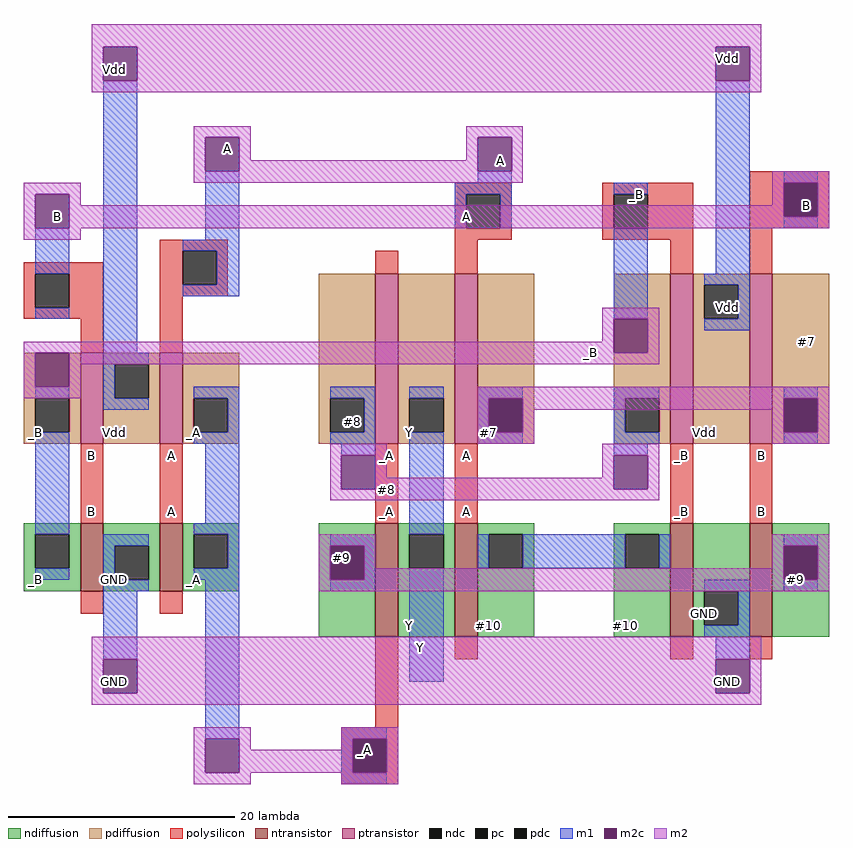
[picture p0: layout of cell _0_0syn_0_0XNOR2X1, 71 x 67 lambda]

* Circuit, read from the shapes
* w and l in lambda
.subckt _0_0syn_0_0XNOR2X1 GND Vdd Y A
M1 GND B _B VSUBS nfet w=6 l=2
M2 _A A GND VSUBS nfet w=6 l=2
M3 Y _A #9 VSUBS nfet w=10 l=2
M4 #10 A Y VSUBS nfet w=10 l=2
M5 GND _B #10 VSUBS nfet w=10 l=2
M6 #9 B GND VSUBS nfet w=10 l=2
M7 Vdd B _B NWELL pfet w=8 l=2
M8 _A A Vdd NWELL pfet w=8 l=2
M9 Y _A #8 NWELL pfet w=15 l=2
M10 #7 A Y NWELL pfet w=15 l=2
M11 Vdd _B #8 NWELL pfet w=15 l=2
M12 #7 B Vdd NWELL pfet w=15 l=2
.ends

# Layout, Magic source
magic
tech sky130l
<< ndiffusion >>
rect 8 15 13 16
rect 8 12 9 15
rect 12 12 13 15
rect 8 10 13 12
rect 15 14 20 16
rect 15 11 16 14
rect 19 11 20 14
rect 15 10 20 11
rect 22 15 27 16
rect 22 12 23 15
rect 26 12 27 15
rect 22 10 27 12
rect 34 14 39 16
rect 34 11 35 14
rect 38 11 39 14
rect 34 6 39 11
rect 41 15 46 16
rect 41 12 42 15
rect 45 12 46 15
rect 41 6 46 12
rect 48 15 53 16
rect 48 12 49 15
rect 52 12 53 15
rect 48 6 53 12
rect 60 15 65 16
rect 60 12 61 15
rect 64 12 65 15
rect 60 6 65 12
rect 67 10 72 16
rect 67 7 68 10
rect 71 7 72 10
rect 67 6 72 7
rect 74 14 79 16
rect 74 11 75 14
rect 78 11 79 14
rect 74 6 79 11
<< ndc >>
rect 9 12 12 15
rect 16 11 19 14
rect 23 12 26 15
rect 35 11 38 14
rect 42 12 45 15
rect 49 12 52 15
rect 61 12 64 15
rect 68 7 71 10
rect 75 11 78 14
<< ntransistor >>
rect 13 10 15 16
rect 20 10 22 16
rect 39 6 41 16
rect 46 6 48 16
rect 65 6 67 16
rect 72 6 74 16
<< pdiffusion >>
rect 8 27 13 31
rect 8 24 9 27
rect 12 24 13 27
rect 8 23 13 24
rect 15 30 20 31
rect 15 27 16 30
rect 19 27 20 30
rect 15 23 20 27
rect 22 27 27 31
rect 22 24 23 27
rect 26 24 27 27
rect 22 23 27 24
rect 34 27 39 38
rect 34 24 35 27
rect 38 24 39 27
rect 34 23 39 24
rect 41 27 46 38
rect 41 24 42 27
rect 45 24 46 27
rect 41 23 46 24
rect 48 27 53 38
rect 48 24 49 27
rect 52 24 53 27
rect 48 23 53 24
rect 60 27 65 38
rect 60 24 61 27
rect 64 24 65 27
rect 60 23 65 24
rect 67 37 72 38
rect 67 34 68 37
rect 71 34 72 37
rect 67 23 72 34
rect 74 27 79 38
rect 74 24 75 27
rect 78 24 79 27
rect 74 23 79 24
<< pdc >>
rect 9 24 12 27
rect 16 27 19 30
rect 23 24 26 27
rect 35 24 38 27
rect 42 24 45 27
rect 49 24 52 27
rect 61 24 64 27
rect 68 34 71 37
rect 75 24 78 27
<< ptransistor >>
rect 13 23 15 31
rect 20 23 22 31
rect 39 23 41 38
rect 46 23 48 38
rect 65 23 67 38
rect 72 23 74 38
<< polysilicon >>
rect 72 46 79 47
rect 46 45 51 46
rect 46 42 47 45
rect 50 42 51 45
rect 46 41 51 42
rect 59 45 67 46
rect 59 42 60 45
rect 63 42 67 45
rect 59 41 67 42
rect 20 40 26 41
rect 8 38 15 39
rect 8 35 9 38
rect 12 35 15 38
rect 8 34 15 35
rect 13 31 15 34
rect 20 37 22 40
rect 25 37 26 40
rect 39 38 41 40
rect 46 38 48 41
rect 65 38 67 41
rect 72 43 75 46
rect 78 43 79 46
rect 72 42 79 43
rect 72 38 74 42
rect 20 36 26 37
rect 20 31 22 36
rect 13 16 15 23
rect 20 16 22 23
rect 39 16 41 23
rect 46 16 48 23
rect 65 16 67 23
rect 72 16 74 23
rect 13 8 15 10
rect 20 8 22 10
rect 39 -2 41 6
rect 46 4 48 6
rect 65 4 67 6
rect 72 4 74 6
rect 36 -3 41 -2
rect 36 -6 37 -3
rect 40 -6 41 -3
rect 36 -7 41 -6
<< pc >>
rect 47 42 50 45
rect 60 42 63 45
rect 9 35 12 38
rect 22 37 25 40
rect 75 43 78 46
rect 37 -6 40 -3
<< m1 >>
rect 9 38 12 42
rect 9 34 12 35
rect 15 31 18 55
rect 24 41 27 47
rect 48 46 51 47
rect 46 45 51 46
rect 46 42 47 45
rect 50 42 51 45
rect 60 45 63 46
rect 22 40 27 41
rect 25 37 27 40
rect 22 36 27 37
rect 60 34 63 42
rect 69 38 72 55
rect 75 46 78 47
rect 75 42 78 43
rect 68 37 72 38
rect 71 34 72 37
rect 68 33 72 34
rect 9 27 12 28
rect 15 30 19 31
rect 15 27 16 30
rect 15 26 19 27
rect 23 27 27 28
rect 9 15 12 24
rect 26 24 27 27
rect 23 23 27 24
rect 35 27 39 28
rect 38 24 39 27
rect 35 23 39 24
rect 24 16 27 23
rect 36 22 39 23
rect 42 27 45 28
rect 23 15 27 16
rect 42 15 45 24
rect 48 27 52 28
rect 48 24 49 27
rect 48 23 52 24
rect 60 27 64 28
rect 60 24 61 27
rect 60 23 64 24
rect 75 27 78 28
rect 75 23 78 24
rect 60 22 63 23
rect 9 11 12 12
rect 15 14 19 15
rect 15 11 16 14
rect 26 12 27 15
rect 23 11 27 12
rect 15 10 19 11
rect 15 4 18 10
rect 24 -3 27 11
rect 35 14 39 15
rect 38 11 39 14
rect 35 10 39 11
rect 48 12 49 15
rect 52 12 61 15
rect 64 12 65 15
rect 75 14 78 15
rect 42 2 45 12
rect 68 10 72 11
rect 75 10 78 11
rect 71 7 72 10
rect 68 6 72 7
rect 69 4 72 6
rect 36 -3 40 -2
rect 36 -6 37 -3
rect 36 -7 40 -6
<< m2c >>
rect 15 55 18 58
rect 9 42 12 45
rect 69 55 72 58
rect 24 47 27 50
rect 48 47 51 50
rect 75 43 78 46
rect 60 31 63 34
rect 9 28 12 31
rect 36 19 39 22
rect 49 24 52 27
rect 75 24 78 27
rect 60 19 63 22
rect 15 1 18 4
rect 35 11 38 14
rect 75 11 78 14
rect 69 1 72 4
rect 24 -6 27 -3
rect 37 -6 40 -3
<< m2 >>
rect 14 58 73 60
rect 14 55 15 58
rect 18 55 69 58
rect 72 55 73 58
rect 14 54 73 55
rect 23 50 28 51
rect 23 47 24 50
rect 27 48 28 50
rect 47 50 52 51
rect 47 48 48 50
rect 27 47 48 48
rect 51 47 52 50
rect 23 46 52 47
rect 74 46 79 47
rect 8 45 13 46
rect 8 42 9 45
rect 12 44 13 45
rect 74 44 75 46
rect 12 43 75 44
rect 78 43 79 46
rect 12 42 79 43
rect 8 41 13 42
rect 59 34 64 35
rect 59 32 60 34
rect 8 31 60 32
rect 63 31 64 34
rect 8 28 9 31
rect 12 30 64 31
rect 12 28 13 30
rect 8 27 13 28
rect 48 27 79 28
rect 48 24 49 27
rect 52 26 75 27
rect 52 24 53 26
rect 48 23 53 24
rect 74 24 75 26
rect 78 24 79 27
rect 74 23 79 24
rect 35 22 40 23
rect 35 19 36 22
rect 39 20 40 22
rect 59 22 64 23
rect 59 20 60 22
rect 39 19 60 20
rect 63 19 64 22
rect 35 18 64 19
rect 34 14 39 15
rect 34 11 35 14
rect 38 12 39 14
rect 74 14 79 15
rect 74 12 75 14
rect 38 11 75 12
rect 78 11 79 14
rect 34 10 79 11
rect 14 4 73 6
rect 14 1 15 4
rect 18 1 69 4
rect 72 1 73 4
rect 14 0 73 1
rect 23 -3 28 -2
rect 23 -6 24 -3
rect 27 -4 28 -3
rect 36 -3 41 -2
rect 36 -4 37 -3
rect 27 -6 37 -4
rect 40 -6 41 -3
rect 23 -7 28 -6
rect 36 -7 41 -6
<< labels >>
rlabel m1 47 43 47 43 3 A
port 5 e
rlabel ndiffusion 61 7 61 7 3 #10
rlabel polysilicon 66 22 66 22 3 _B
rlabel polysilicon 66 17 66 17 3 _B
rlabel pdiffusion 68 24 68 24 3 Vdd
rlabel polysilicon 73 22 73 22 3 B
rlabel polysilicon 73 17 73 17 3 B
rlabel polysilicon 40 22 40 22 3 _A
rlabel polysilicon 40 17 40 17 3 _A
rlabel pdiffusion 42 24 42 24 3 Y
rlabel ndiffusion 42 7 42 7 3 Y
rlabel polysilicon 47 22 47 22 3 A
rlabel polysilicon 47 17 47 17 3 A
rlabel pdiffusion 49 24 49 24 3 #7
rlabel ndiffusion 49 7 49 7 3 #10
rlabel pdiffusion 9 24 9 24 3 _B
rlabel ndiffusion 9 11 9 11 3 _B
rlabel polysilicon 14 17 14 17 3 B
rlabel pdiffusion 16 24 16 24 3 Vdd
rlabel ndiffusion 16 11 16 11 3 GND
rlabel polysilicon 21 17 21 17 3 A
rlabel pdiffusion 23 24 23 24 3 _A
rlabel ndiffusion 23 11 23 11 3 _A
rlabel m1 43 5 43 5 3 Y
port 4 e
rlabel m2c 16 2 16 2 3 GND
port 1 e
rlabel ndiffusion 68 8 68 8 3 GND
rlabel m2c 70 2 70 2 1 GND
rlabel m2c 38 -4 38 -4 1 _A
rlabel ndc 36 13 36 13 1 #9
rlabel ndiffusion 76 11 76 11 3 #9
rlabel polysilicon 21 22 21 22 3 A
rlabel polysilicon 14 22 14 22 3 B
rlabel m2 40 19 40 19 3 #8
rlabel pdc 37 25 37 25 1 #8
rlabel pdiffusion 77 32 77 32 7 #7
rlabel m2c 16 56 16 56 3 Vdd
port 2 e
rlabel m2c 70 57 70 57 5 Vdd
rlabel pdc 70 35 70 35 1 Vdd
rlabel m2c 77 44 77 44 1 B
rlabel m2c 11 43 11 43 3 B
rlabel m2c 26 49 26 49 5 A
rlabel m2c 50 48 50 48 5 A
rlabel m1 62 45 62 45 1 _B
rlabel m2 58 31 58 31 1 _B
<< end >>
